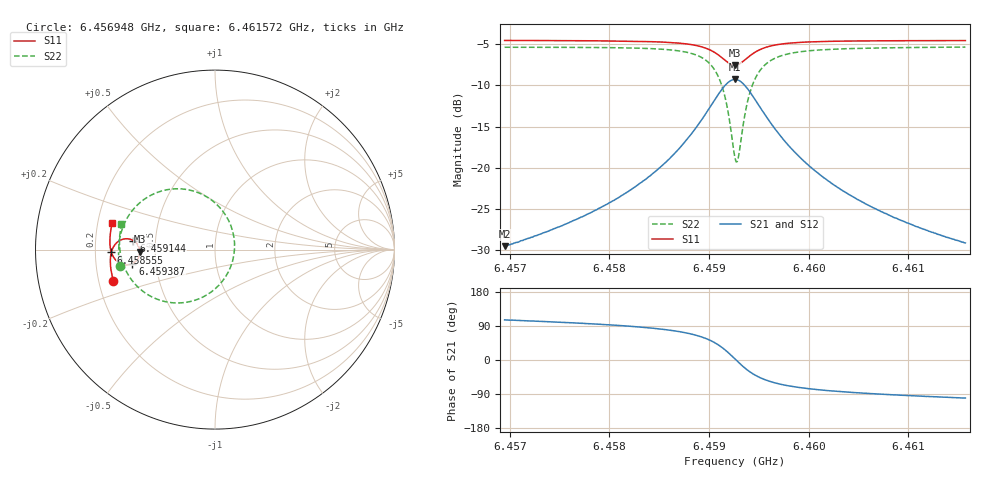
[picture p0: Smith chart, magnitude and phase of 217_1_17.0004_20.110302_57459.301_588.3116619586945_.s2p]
#  HZ  S  RI  R  50.00
! Rohde & Schwarz Vector Network Analyzer
! Rohde-Schwarz,ZNB20-2Port,1311601062101988,3.16
! Created: UTC 3/20/2024, 11:01:48 PM
! freq[Hz]  re:S11  im:S11  re:S21  im:S21  re:S12  im:S12  re:S22  im:S22
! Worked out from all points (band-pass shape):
!   401 points, 6.456948 GHz to 6.461572 GHz, reference 50 ohm
!   highest |S21| = -9.27 dB at 6.45926 GHz (marker M1); lowest = -29.5 dB at 6.456948 GHz (marker M2)
!   |S21| within 3 dB of the highest: 6.459029 GHz to 6.459491 GHz (462.6 kHz wide, 0.00716 % of centre)
!   lowest |S11| = -7.6 dB at 6.45926 GHz (marker M3), VSWR 2.44, Z = 20.5 - j0.61 ohm
!   |S11| at or under -10 dB: nowhere
!   |S22| runs from -19.3 to -5.4 dB; largest |S21 - S12| = 0.013
!   S11 on the Smith chart (normalised r, x): 6.456948 GHz: 0.26, -0.14; 6.458555 GHz: 0.27, -0.01; 6.459144 GHz: 0.37, +0.05; 6.459387 GHz: 0.37, -0.07; 6.461572 GHz: 0.26, +0.12
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6.4569482e9  -0.5655 -0.1755  -0.0092 0.0323  -0.00733 0.0323  -0.5309 -0.0907
6.4577227e9  -0.5799 -0.1079  -0.00595 0.0501  -0.0034 0.0496  -0.5372 -0.000355
6.4581388e9  -0.5832 -0.0664  -0.000378 0.0689  0.00286 0.0677  -0.5302 0.065
6.4584971e9  -0.5796 -0.0239  0.0135 0.0984  0.0176 0.0959  -0.5049 0.1451
6.4585549e9  -0.5779 -0.0159  0.0178 0.1053  0.0218 0.1024  -0.4969 0.1618
6.4587629e9  -0.5649 0.0162  0.0451 0.1379  0.0493 0.133  -0.446 0.2348
6.4589132e9  -0.5426 0.0427  0.0901 0.1685  0.0933 0.1618  -0.3634 0.2995
6.4590519e9  -0.4989 0.0603  0.1768 0.1852  0.1779 0.1779  -0.2048 0.3389
6.4591444e9  -0.4545 0.0503  0.2665 0.1546  0.2669 0.1486  -0.039 0.2896
6.4591906e9  -0.4335 0.0316  0.3101 0.1119  0.3114 0.1067  0.0437 0.2139
6.4592599e9  -0.4186 -0.0123  0.3435 0.0157  0.347 0.00888  0.1089 0.0355
6.4592715e9  -0.419 -0.0203  0.3433 -0.00197  0.3471 -0.00942  0.1087 0.00232
6.4592946e9  -0.4225 -0.0358  0.3379 -0.0363  0.3417 -0.0453  0.098 -0.0631
6.4593409e9  -0.4379 -0.0618  0.3098 -0.096  0.312 -0.1077  0.0414 -0.1757
6.4593871e9  -0.4597 -0.078  0.2682 -0.1371  0.2675 -0.15  -0.0426 -0.2505
6.4594796e9  -0.5029 -0.0849  0.1844 -0.1684  0.1783 -0.1799  -0.2098 -0.2973
6.4596298e9  -0.5465 -0.0646  0.0967 -0.1553  0.0885 -0.1615  -0.3767 -0.2495
6.4597916e9  -0.5682 -0.037  0.0519 -0.1278  0.0444 -0.1307  -0.4573 -0.1782
6.4600344e9  -0.581 -0.00151  0.0227 -0.0966  0.017 -0.0973  -0.5057 -0.0965
6.4603464e9  -0.5855 0.0357  0.00763 -0.072  0.00338 -0.0716  -0.5266 -0.0241
6.4608088e9  -0.5839 0.0824  -0.00124 -0.0516  -0.00399 -0.0508  -0.5321 0.0506
6.4615717e9  -0.5717 0.15  -0.00628 -0.0345  -0.00803 -0.0335  -0.5212 0.1406
